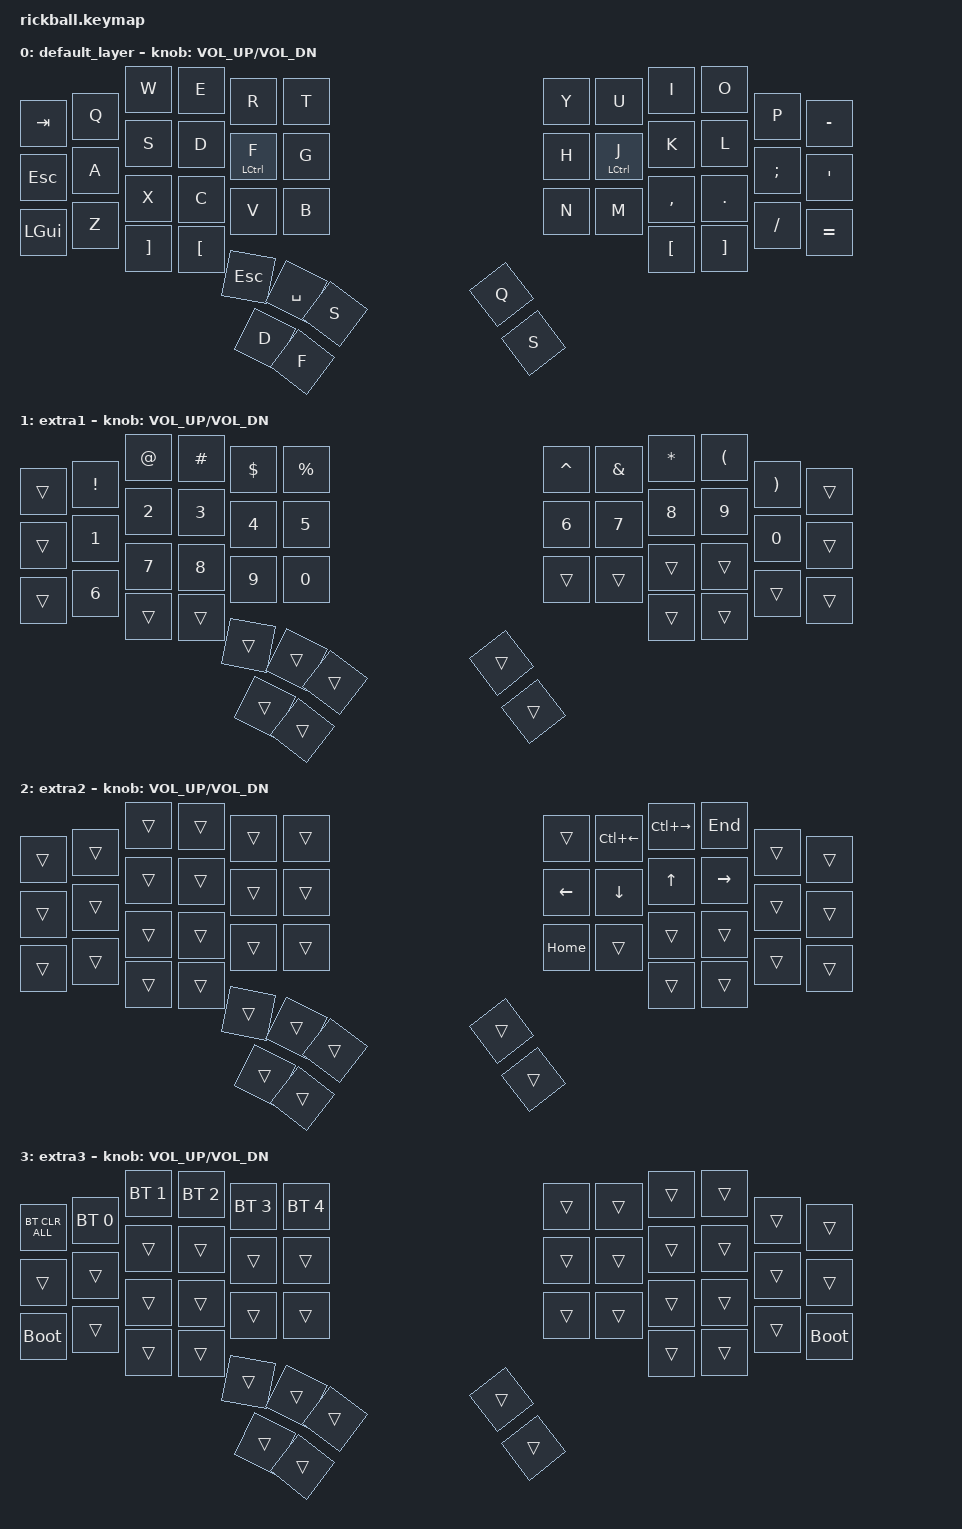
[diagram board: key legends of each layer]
#include <behaviors.dtsi>
#include <dt-bindings/zmk/keys.h>
#include <dt-bindings/zmk/bt.h>
#include <dt-bindings/zmk/mouse.h>
#include <behaviors/mouse_move.dtsi>
#include <behaviors/mouse_scroll.dtsi>

/ {
    behaviors {
        cmqus: comma_question {
            compatible = "zmk,behavior-mod-morph";
            label = "COMMA_QUESTION";
            #binding-cells = <0>;
            bindings = <&kp COMMA>, <&kp QUESTION>;

            mods = <(MOD_LSFT|MOD_RSFT)>;
        };

        td0: tap_dance_0 {
            compatible = "zmk,behavior-tap-dance";
            #binding-cells = <0>;
            tapping-term-ms = <300>;
            bindings = <&kp LBRC>, <&kp RBRC>, <&kp LBKT>, <&kp RBKT>;
        };

        dtsmi: dot_semi {
            compatible = "zmk,behavior-mod-morph";
            label = "DOT_SEMI";
            #binding-cells = <0>;
            bindings = <&kp DOT>, <&kp SEMI>;
            mods = <(MOD_LSFT|MOD_RSFT)>;
        };

        hm_rick: hmrick {
            compatible = "zmk,behavior-hold-tap";
            label = "HMRICK";
            bindings = <&kp>, <&kp>;
            #binding-cells = <2>;
            flavor = "tap-preferred";
            tapping-term-ms = <175>; // triggers the hold behavior when the tapping-term-ms has expired
            quick-tap-ms = <150>; // If you press a tapped hold-tap again within quick-tap-ms milliseconds of the first press, it will always trigger the tap behavior.
            require-prior-idle-ms = <185>; // like quick-tap-ms however it will apply for any non-modifier key pressed before it
        };

        ht: hold_tap {
            compatible = "zmk,behavior-hold-tap";
            label = "HOLD_TAP";
            bindings = <&kp>, <&kp>;
            #binding-cells = <2>;
            flavor = "tap-preferred";
            tapping-term-ms = <200>;
        };

        as_ht: autoshift_hold_tap {
            compatible = "zmk,behavior-hold-tap";
            label = "AUTOSHIFT_HOLD_TAP";
            #binding-cells = <2>;
            tapping-term-ms = <200>;
            bindings = <&shifted>, <&kp>;
        };

        sticky: sticky {
            compatible = "zmk,behavior-sticky-key";
            label = "STICKY";
            bindings = <&kp>;
            #binding-cells = <1>;
            release-after-ms = <10000>;
        };
    };

    macros {
        shifted: macro_shifted_kp {
            #binding-cells = <1>;
            label = "MACRO_SHIFTED_KP";
            compatible = "zmk,behavior-macro-one-param";
            bindings =
                <&macro_press &kp LSHFT>,
                <&macro_param_1to1 &macro_tap &kp MACRO_PLACEHOLDER>,
                <&macro_release &kp LSHFT>;
        };

        as: autoshift {
            compatible = "zmk,behavior-macro-one-param";
            #binding-cells = <1>;
            label = "AUTOSHIFT_KP";
            bindings =
                <&macro_press>,
                <&macro_param_1to1>,
                <&macro_param_1to2>,
                <&as_ht MACRO_PLACEHOLDER MACRO_PLACEHOLDER>,
                <&macro_pause_for_release>,
                <&macro_release>,
                <&macro_param_1to1>,
                <&macro_param_1to2>,
                <&as_ht MACRO_PLACEHOLDER MACRO_PLACEHOLDER>;
        };
    };

    keymap {
        compatible = "zmk,keymap";

        default_layer {
            bindings = <
            // ╭─────────────────────────────────────────────────╮ ╭─────────────────────────────────────────────────╮
                 &kp TAB     &kp Q     &kp W     &kp E     &kp R     &kp T         &kp Y     &kp U     &kp I     &kp O     &kp P     &kp MINUS
            // ├─────────────────────────────────────────────────┤ ├─────────────────────────────────────────────────┤
                 &kp ESC   &kp A     &kp S     &kp D                &hm_rick LCTRL F &kp G             &kp H     &hm_rick LCTRL J     &kp K         &kp L     &kp SEMI     &kp APOS
            // ├─────────────────────────────────────────────────┤ ├─────────────────────────────────────────────────┤
                 &kp LGUI  &kp Z     &kp X     &kp C                &kp V            &kp B             &kp N     &kp M                &kp COMMA     &kp DOT   &kp FSLH     &kp EQUAL
            // ╰─────────────────────────────────────────────────┤ ├─────────────────────────────────────────────────╯
                                     &kp RBKT  &kp LBKT                                                &kp LBKT  &kp RBKT
            //                       ╰───────────────────────────╯ ╰───────────────────────────╯
                                               &kp ESC          &kp SPACE         &kp S     &kp Q                &kp D         &kp F     &kp S
            //                                 ╰─────────────────────────────────────────────────────────╯
            >;
            sensor-bindings = <&inc_dec_kp C_VOL_UP C_VOL_DN>;
        };

        extra1 {
            bindings = <
            // ╭─────────────────────────────────────────────────╮ ╭─────────────────────────────────────────────────╮
                 &trans    &kp EXCL  &kp AT    &kp HASH  &kp DLLR  &kp PRCNT         &kp CARET &kp AMPS    &kp ASTRK   &kp LPAR  &kp RPAR  &trans
            // ├─────────────────────────────────────────────────┤ ├─────────────────────────────────────────────────┤
                 &trans    &kp N1    &kp N2    &kp N3    &kp N4    &kp N5            &kp N6    &kp N7      &kp N8      &kp N9    &kp N0    &trans
            // ├─────────────────────────────────────────────────┤ ├─────────────────────────────────────────────────┤
                 &trans    &kp N6    &kp N7    &kp N8    &kp N9    &kp N0            &trans    &trans      &trans      &trans    &trans    &trans
            // ╰─────────────────────────────────────────────────┤ ├─────────────────────────────────────────────────╯
                                     &trans    &trans                                          &trans      &trans
            //                       ╰───────────────────────────╯ ╰───────────────────────────╯
                                               &trans    &trans    &trans    &trans            &trans      &trans      &trans
            //                                 ╰─────────────────────────────────────────────────────────────────────────╯
            >;
            sensor-bindings = <&inc_dec_kp C_VOL_UP C_VOL_DN>;
        };

        extra2 {
            bindings = <
            // ╭─────────────────────────────────────────────────╮ ╭─────────────────────────────────────────────────╮
                 &trans    &trans    &trans    &trans    &trans    &trans            &trans        &kp LC(LEFT)    &kp LC(RIGHT) &kp END   &trans    &trans
            // ├─────────────────────────────────────────────────┤ ├─────────────────────────────────────────────────┤
                 &trans    &trans    &trans    &trans    &trans    &trans            &kp LEFT      &kp DOWN        &kp UP        &kp RIGHT &trans    &trans
            // ├─────────────────────────────────────────────────┤ ├─────────────────────────────────────────────────┤
                 &trans    &trans    &trans    &trans    &trans    &trans            &kp HOME      &trans          &trans        &trans    &trans    &trans
            // ╰─────────────────────────────────────────────────┤ ├─────────────────────────────────────────────────╯
                                     &trans    &trans                                              &trans          &trans
            //                       ╰───────────────────────────╯ ╰───────────────────────────╯
                                               &trans    &trans    &trans    &trans              &trans          &trans        &trans
            //                                 ╰─────────────────────────────────────────────────────────────────────────╯
            >;
            sensor-bindings = <&inc_dec_kp C_VOL_UP C_VOL_DN>;
        };

        extra3 {
            bindings = <
            // ╭─────────────────────────────────────────────────╮ ╭─────────────────────────────────────────────────╮
                 &bt BT_CLR_ALL &bt BT_SEL 0 &bt BT_SEL 1 &bt BT_SEL 2 &bt BT_SEL 3 &bt BT_SEL 4    &trans    &trans    &trans    &trans    &trans    &trans
            // ├─────────────────────────────────────────────────┤ ├─────────────────────────────────────────────────┤
                 &trans         &trans       &trans       &trans       &trans       &trans          &trans    &trans    &trans    &trans    &trans    &trans
            // ├─────────────────────────────────────────────────┤ ├─────────────────────────────────────────────────┤
                 &bootloader    &trans       &trans       &trans       &trans       &trans          &trans    &trans    &trans    &trans    &trans    &bootloader
            // ╰─────────────────────────────────────────────────┤ ├─────────────────────────────────────────────────╯
                                             &trans       &trans                                     &trans    &trans
            //                               ╰───────────────────────────╯ ╰───────────────────────────╯
                                                          &trans       &trans       &trans    &trans    &trans    &trans    &trans
            //                                            ╰─────────────────────────────────────────────────────────────────────────╯
            >;
            sensor-bindings = <&inc_dec_kp C_VOL_UP C_VOL_DN>;
        };
    };
};
